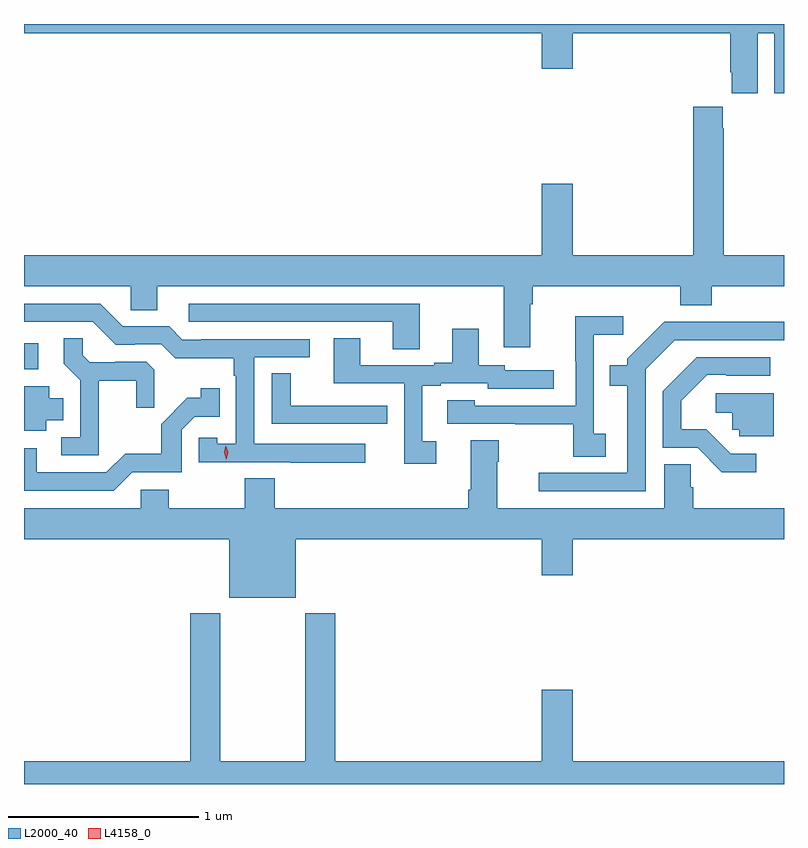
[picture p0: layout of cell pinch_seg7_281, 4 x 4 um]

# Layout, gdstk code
import gdstk
lib = gdstk.Library(unit=1e-6, precision=1e-09)
def R(c, l, rs):  # rectangles x0, y0, x1, y1
    for r in rs: c.add(gdstk.rectangle(r[:2], r[2:], *l))
def P(c, l, *ps):  # polygons
    for p in ps: c.add(gdstk.Polygon(p, *l))
L2000_40 = (2000, 40)
L4158_0 = (4158, 0)

pinch_seg7_281 = lib.new_cell('pinch_seg7_281')
R(pinch_seg7_281, L2000_40, [(569.875,1073.439,569.95,1073.575)])
P(pinch_seg7_281, L2000_40, [(573.736,1075.208),(573.824,1075.208),(573.824,1074.891),(573.875,1074.891),(573.875,1075.256),(569.875,1075.256),(569.875,1075.208),(572.6,1075.208),(572.6,1075.02),(572.764,1075.02),(572.764,1075.208),(573.593,1075.208),(573.593,1075.003),(573.599,1075.003),(573.599,1074.891),(573.736,1074.891)],
  [(572.539,1073.78),(572.552,1073.78),(572.552,1073.876),(573.329,1073.876),(573.329,1073.777),(573.494,1073.777),(573.494,1073.876),(573.875,1073.876),(573.875,1074.04),(573.558,1074.04),(573.558,1074.707),(573.553,1074.707),(573.553,1074.82),(573.398,1074.82),(573.398,1074.04),(572.764,1074.04),(572.764,1074.415),(572.6,1074.415),(572.6,1074.04),(569.875,1074.04),(569.875,1073.876),(570.438,1073.876),(570.438,1073.749),(570.577,1073.749),(570.577,1073.876),(572.399,1073.876),(572.399,1073.556),(572.539,1073.556)],
  [(571.672,1073.046),(571.086,1073.046),(571.086,1073.502),(571.378,1073.502),(571.378,1073.598),(570.808,1073.598),(570.808,1073.595),(570.708,1073.595),(570.639,1073.664),(570.396,1073.664),(570.276,1073.784),(569.875,1073.784),(569.875,1073.688),(570.237,1073.688),(570.357,1073.568),(570.458,1073.568),(570.458,1073.571),(570.597,1073.571),(570.67,1073.498),(570.978,1073.498),(570.978,1073.405),(570.99,1073.405),(570.99,1073.047),(570.891,1073.047),(570.891,1073.079),(570.795,1073.079),(570.795,1072.95),(571.279,1072.95),(571.279,1072.948),(571.672,1072.948)],
  [(571.957,1073.784),(570.741,1073.784),(570.741,1073.688),(571.817,1073.688),(571.817,1073.545),(571.957,1073.545)],
  [(572.938,1073.1),(572.874,1073.1),(572.874,1073.621),(573.028,1073.621),(573.028,1073.719),(572.776,1073.719),(572.776,1073.48),(572.778,1073.48),(572.778,1073.247),(572.247,1073.247),(572.247,1073.275),(572.103,1073.275),(572.103,1073.151),(572.461,1073.151),(572.461,1073.149),(572.766,1073.149),(572.766,1072.978),(572.938,1072.978)],
  [(573.147,1073.439),(573.3,1073.592),(573.875,1073.592),(573.875,1073.69),(573.577,1073.69),(573.577,1073.688),(573.246,1073.688),(573.051,1073.493),(573.051,1073.461),(572.959,1073.461),(572.959,1073.352),(573.05,1073.352),(573.05,1072.893),(572.583,1072.893),(572.583,1072.797),(573.147,1072.797)],
  [(572.044,1073.061),(571.972,1073.061),(571.972,1073.352),(572.068,1073.352),(572.068,1073.364),(572.316,1073.364),(572.316,1073.337),(572.662,1073.337),(572.662,1073.433),(572.406,1073.433),(572.406,1073.46),(572.269,1073.46),(572.269,1073.653),(572.129,1073.653),(572.129,1073.473),(572.033,1073.473),(572.033,1073.46),(571.645,1073.46),(571.645,1073.603),(571.505,1073.603),(571.505,1073.364),(571.875,1073.364),(571.875,1072.941),(572.044,1072.941)],
  [(570.269,1073.378),(570.466,1073.378),(570.466,1073.235),(570.56,1073.235),(570.56,1073.437),(570.519,1073.478),(570.354,1073.478),(570.354,1073.475),(570.22,1073.475),(570.183,1073.512),(570.183,1073.603),(570.085,1073.603),(570.085,1073.467),(570.171,1073.381),(570.171,1073.082),(570.072,1073.082),(570.072,1072.986),(570.269,1072.986)],
  [(573.73,1072.995),(573.594,1072.995),(573.467,1073.122),(573.334,1073.122),(573.334,1073.272),(573.471,1073.409),(573.571,1073.409),(573.571,1073.406),(573.802,1073.406),(573.802,1073.502),(573.416,1073.502),(573.237,1073.323),(573.237,1073.025),(573.42,1073.025),(573.548,1072.898),(573.73,1072.898)],
  [(571.786,1073.246),(571.673,1073.246),(571.673,1073.247),(571.278,1073.247),(571.278,1073.417),(571.179,1073.417),(571.179,1073.151),(571.786,1073.151)],
  [(569.992,1073.171),(570.082,1073.171),(570.082,1073.287),(570.007,1073.287),(570.007,1073.35),(569.875,1073.35),(569.875,1073.114),(569.992,1073.114)],
  [(570.444,1072.896),(570.705,1072.896),(570.705,1073.121),(570.774,1073.19),(570.905,1073.19),(570.905,1073.338),(570.804,1073.338),(570.804,1073.288),(570.734,1073.288),(570.597,1073.15),(570.597,1072.995),(570.408,1072.995),(570.309,1072.896),(569.941,1072.896),(569.941,1073.022),(569.875,1073.022),(569.875,1072.8),(570.348,1072.8)],
  [(573.82,1073.313),(573.516,1073.313),(573.516,1073.21),(573.603,1073.21),(573.603,1073.121),(573.639,1073.121),(573.639,1073.085),(573.82,1073.085)],
  [(571.306,1072.544),(572.6,1072.544),(572.6,1072.356),(572.764,1072.356),(572.764,1072.544),(573.875,1072.544),(573.875,1072.708),(573.398,1072.708),(573.398,1072.818),(573.383,1072.818),(573.383,1072.94),(573.245,1072.94),(573.245,1072.708),(572.365,1072.708),(572.365,1072.952),(572.373,1072.952),(572.373,1073.065),(572.225,1073.065),(572.225,1072.804),(572.213,1072.804),(572.213,1072.708),(571.196,1072.708),(571.196,1072.865),(571.036,1072.865),(571.036,1072.708),(570.636,1072.708),(570.636,1072.806),(570.489,1072.806),(570.489,1072.708),(569.875,1072.708),(569.875,1072.544),(570.956,1072.544),(570.956,1072.235),(571.306,1072.235)],
  [(573.875,1071.376),(572.764,1071.376),(572.764,1071.751),(572.6,1071.751),(572.6,1071.376),(571.514,1071.376),(571.514,1072.156),(571.354,1072.156),(571.354,1071.376),(570.909,1071.376),(570.909,1072.156),(570.749,1072.156),(570.749,1071.376),(569.875,1071.376),(569.875,1071.256),(573.875,1071.256)])
P(pinch_seg7_281, L4158_0, [(570.94,1072.965),(570.939,1072.966),(570.929,1073.001),(570.938,1073.037),(570.938,1073.037),(570.938,1073.037),(570.949,1073.002),(570.94,1072.966)])

lib.write_gds('pinch_seg7_281.gds')
